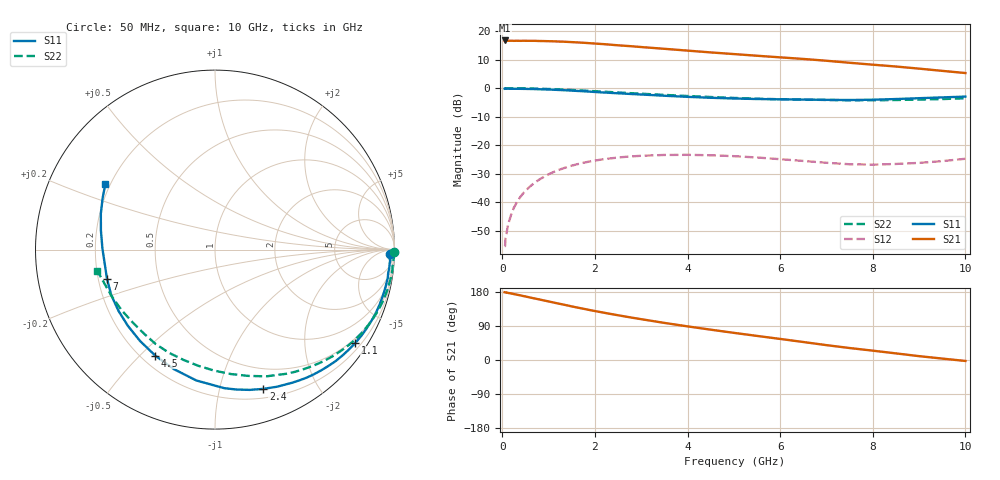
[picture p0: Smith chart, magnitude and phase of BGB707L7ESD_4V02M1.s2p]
!  Infineon Technologies AG
!  BGB707L7ESD RU919007 w#7 Sample Build #08493 Teil Nr. 3
!  Vce = 4.0V, Ic = 2.1mA
!  DATUM: 30.06.2009 10:57:49
# GHz  S  MA  R  50
!f  S11  S21  S12  S22
!GHz  Mag  Ang  Mag  Ang  Mag  Ang  Mag  Ang
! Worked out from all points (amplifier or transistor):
!   52 points, 50 MHz to 10 GHz, reference 50 ohm
!   highest |S21| = 16.7 dB at 60 MHz (marker M1)
!   |S21| within 3 dB of that: start of sweep to 3.557 GHz
!   unconditionally stable (mu >= 1): 7.048 GHz to end of sweep
!   at 130 MHz: K = 0.06, MSG = 32.1 dB, |S12| = -47.6 dB
!   at 1.4 GHz: K = 0.06, MSG = 21.9 dB, |S12| = -27.7 dB
!   at 10 GHz: K = 1.08, MAG = 13.3 dB, |S12| = -24.8 dB
!   lowest NFmin = 0.40 dB at 100 MHz
!   S11 on the Smith chart (normalised r, x): 50 MHz: 43, -45; 1.1 GHz: 0.37, -3.26; 2.4 GHz: 0.29, -1.37; 4.5 GHz: 0.25, -0.56; 7 GHz: 0.24, -0.13; 10 GHz: 0.18, +0.27
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0.05  0.978 -1.3  6.724 178.9  0.001698 98.3  0.9975 -0.9
0.06  0.9845 -2.2  6.858 178.7  0.001705 82.5  0.9975 -1.2
0.08  0.9785 -2.2  6.735 177.9  0.00256 83.4  0.9979 -1.7
0.09  0.9765 -2.8  6.789 178.3  0.002768 85.6  0.9978 -1.9
0.14  0.9762 -4.3  6.764 176.6  0.004492 83.9  0.9968 -3.0
0.35  0.9735 -10.8  6.765 171.5  0.01115 81.8  0.9936 -7.6
0.7  0.963 -21.6  6.754 162.3  0.02205 74.6  0.9822 -15.3
1.1  0.939 -33.8  6.632 151.9  0.03369 66.3  0.9598 -23.9
1.5  0.9054 -45.7  6.412 141.5  0.04377 57.9  0.9288 -32.3
1.8  0.8772 -54.4  6.214 134.1  0.05017 52.0  0.9027 -38.3
2.2  0.8388 -65.6  5.903 124.7  0.05699 44.6  0.8665 -46.0
2.4  0.8213 -70.9  5.723 120.2  0.05959 41.2  0.8484 -49.6
2.8  0.7886 -81.3  5.422 111.7  0.06372 35.0  0.815 -56.5
3.5  0.7365 -98.1  4.895 97.9  0.06745 25.5  0.7622 -67.9
4  0.704 -109.1  4.551 88.7  0.06775 19.9  0.7278 -75.2
4.5  0.678 -119.4  4.233 80.0  0.06663 15.1  0.699 -82.7
5.5  0.645 -138.8  3.7 63.6  0.06085 8.7  0.6541 -98.1
6.5  0.6311 -156.3  3.253 47.5  0.05294 8.0  0.6296 -114.0
7  0.6233 -164.9  3.023 39.2  0.04918 10.1  0.6212 -122.2
8.5  0.6444 170.5  2.396 17.4  0.0469 26.3  0.6198 -146.7
9  0.6669 162.5  2.2 10.2  0.04899 31.2  0.6308 -155.1
10  0.711 149.3  1.842 -2.5  0.05786 38.5  0.6656 -169.6
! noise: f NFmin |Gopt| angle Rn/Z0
0.1  0.4  0.68  2  0.23
0.45  0.51  0.68  4  0.23
0.9  0.57  0.7  13  0.22
1.8  0.65  0.54  36  0.22
5  1.07  0.43  79  0.2
10  2.02  0.48  -143  0.13
